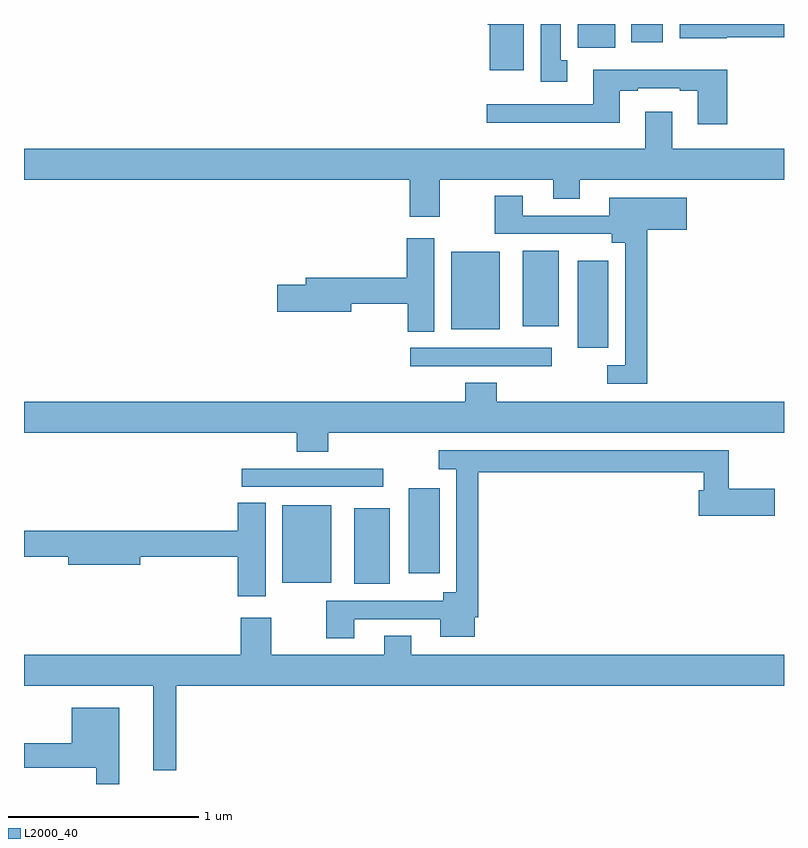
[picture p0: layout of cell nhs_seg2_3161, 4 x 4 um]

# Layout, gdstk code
import gdstk
lib = gdstk.Library(unit=1e-6, precision=1e-09)
def R(c, l, rs):  # rectangles x0, y0, x1, y1
    for r in rs: c.add(gdstk.rectangle(r[:2], r[2:], *l))
def P(c, l, *ps):  # polygons
    for p in ps: c.add(gdstk.Polygon(p, *l))
L2000_40 = (2000, 40)

nhs_seg2_3161 = lib.new_cell('nhs_seg2_3161')
R(nhs_seg2_3161, L2000_40, [(278.738,634.853,278.926,635.251), (278.36,634.859,278.617,635.266), (279.026,634.908,279.187,635.356), (278.145,635.364,278.89,635.46), (279.033,636,279.778,636.096), (279.914,636.095,280.075,636.553), (279.248,636.194,279.505,636.601), (279.626,636.209,279.814,636.607), (279.914,637.676,280.111,637.8), (280.196,637.704,280.363,637.8)])
P(nhs_seg2_3161, L2000_40, [(280.698,637.73),(281,637.73),(281,637.8),(280.451,637.8),(280.451,637.724),(280.698,637.724)],
  [(279.859,637.61),(279.826,637.61),(279.826,637.8),(279.719,637.8),(279.719,637.497),(279.859,637.497)],
  [(279.631,637.8),(279.44,637.8),(279.44,637.796),(279.452,637.796),(279.452,637.556),(279.631,637.556)],
  [(280.7,637.558),(279.995,637.558),(279.995,637.377),(279.435,637.377),(279.435,637.28),(280.135,637.28),(280.135,637.449),(280.231,637.449),(280.231,637.461),(280.451,637.461),(280.451,637.449),(280.547,637.449),(280.547,637.272),(280.7,637.272)],
  [(279.189,636.98),(279.785,636.98),(279.785,636.881),(279.925,636.881),(279.925,636.98),(281,636.98),(281,637.144),(280.411,637.144),(280.411,637.339),(280.271,637.339),(280.271,637.144),(277,637.144),(277,636.98),(279.029,636.98),(279.029,636.786),(279.189,636.786)],
  [(280.28,636.716),(280.489,636.716),(280.489,636.886),(280.079,636.886),(280.079,636.792),(279.625,636.792),(279.625,636.895),(279.478,636.895),(279.478,636.696),(280.094,636.696),(280.094,636.65),(280.164,636.65),(280.164,636.003),(280.071,636.003),(280.071,635.907),(280.28,635.907)],
  [(279.16,636.673),(279.014,636.673),(279.014,636.464),(278.483,636.464),(278.483,636.428),(278.334,636.428),(278.334,636.286),(278.722,636.286),(278.722,636.328),(279.019,636.328),(279.019,636.181),(279.16,636.181)],
  [(278.6,635.648),(281,635.648),(281,635.812),(279.488,635.812),(279.488,635.911),(279.323,635.911),(279.323,635.812),(277,635.812),(277,635.648),(278.435,635.648),(278.435,635.549),(278.6,635.549)],
  [(278.737,634.668),(279.191,634.668),(279.191,634.574),(279.373,634.574),(279.373,634.678),(279.392,634.678),(279.392,635.44),(280.577,635.44),(280.577,635.347),(280.55,635.347),(280.55,635.213),(280.951,635.213),(280.951,635.355),(280.709,635.355),(280.709,635.556),(279.183,635.556),(279.183,635.456),(279.276,635.456),(279.276,634.81),(279.206,634.81),(279.206,634.764),(278.59,634.764),(278.59,634.566),(278.737,634.566)],
  [(278.272,635.279),(278.126,635.279),(278.126,635.132),(277,635.132),(277,634.996),(277.232,634.996),(277.232,634.954),(277.612,634.954),(277.612,634.996),(278.126,634.996),(278.126,634.788),(278.272,634.788)],
  [(277.801,634.316),(281,634.316),(281,634.48),(279.037,634.48),(279.037,634.579),(278.897,634.579),(278.897,634.48),(278.301,634.48),(278.301,634.675),(278.141,634.675),(278.141,634.48),(277,634.48),(277,634.316),(277.679,634.316),(277.679,633.872),(277.801,633.872)],
  [(277.501,634.201),(277.25,634.201),(277.25,634.015),(277,634.015),(277,633.886),(277.38,633.886),(277.38,633.8),(277.501,633.8)])

lib.write_gds('nhs_seg2_3161.gds')
